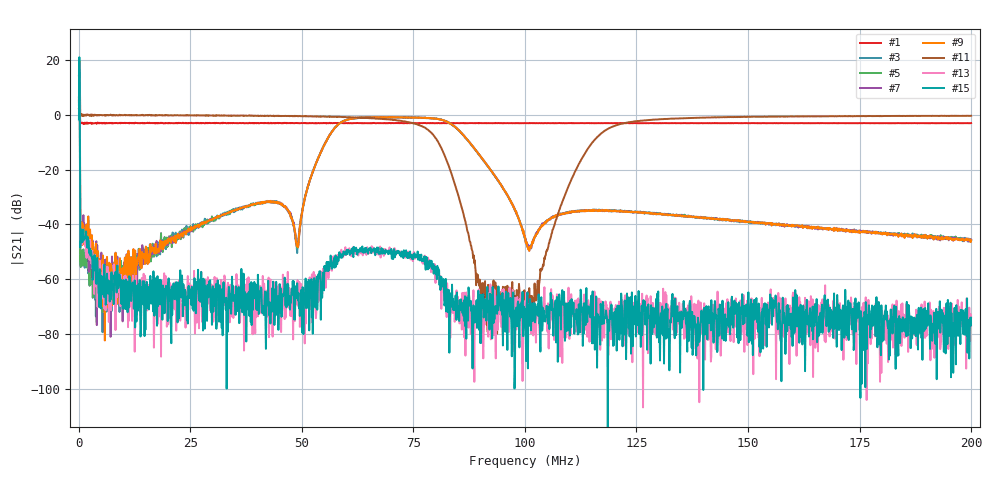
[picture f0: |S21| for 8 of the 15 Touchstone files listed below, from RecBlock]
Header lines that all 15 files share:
! CHANNEL.1
! TR.MEASUREMENT
! CORRECTED.DATA
# GHZ S RI R 50.0
! FREQ.GHZ  S11RE  S11IM  S21RE  S21IM  S12RE  S12IM  S22RE  S22IM
!; PortSelection: Port_12
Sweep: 50 kHz to 200 MHz
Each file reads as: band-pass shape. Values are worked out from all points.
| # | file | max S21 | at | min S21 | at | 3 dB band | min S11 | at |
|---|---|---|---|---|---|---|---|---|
| 1 | 3dBatt0.s2p | 16.21 dB | 150 kHz | -3.3 dB | 1.05 MHz | 50 kHz-150 kHz | -68.6 dB | 4.151 MHz |
| 2 | BandpassFil0.s2p | 4.07 dB | 50 kHz | -78.1 dB | 4.751 MHz | 50 kHz-50 kHz | -35.2 dB | 66.47 MHz |
| 3 | BandpassFil1.s2p | 15.92 dB | 150 kHz | -79.4 dB | 5.351 MHz | 150 kHz-150 kHz | -35.5 dB | 66.67 MHz |
| 4 | BandpassFil2.s2p | 11.39 dB | 150 kHz | -78.6 dB | 7.852 MHz | 150 kHz-150 kHz | -35.1 dB | 66.57 MHz |
| 5 | BandpassFil3.s2p | 6.34 dB | 50 kHz | -75.9 dB | 4.051 MHz | 50 kHz-150 kHz | -35.0 dB | 66.57 MHz |
| 6 | BandpassFilRev0.s2p | 6.93 dB | 150 kHz | -73.5 dB | 8.152 MHz | 150 kHz-150 kHz | -33.8 dB | 66.37 MHz |
| 7 | BandpassFilRev1.s2p | 13.52 dB | 250 kHz | -81.1 dB | 7.152 MHz | 250 kHz-250 kHz | -33.5 dB | 66.17 MHz |
| 8 | BandpassFilRev2.s2p | 9.18 dB | 250 kHz | -77.8 dB | 4.751 MHz | 250 kHz-250 kHz | -33.9 dB | 66.27 MHz |
| 9 | BandpassFilRev3.s2p | 19.69 dB | 150 kHz | -82.4 dB | 5.851 MHz | 150 kHz-150 kHz | -33.6 dB | 66.37 MHz |
| 10 | FMNotch0.s2p | 27.49 dB | 150 kHz | -84.5 dB | 92.67 MHz | 150 kHz-150 kHz | -57.7 dB | 1.05 MHz |
| 11 | FMNotch3Rev.s2p | 14.05 dB | 250 kHz | -79.9 dB | 93.77 MHz | 250 kHz-250 kHz | -49.4 dB | 1.05 MHz |
| 12 | RecBlockRev0.s2p | 23.01 dB | 250 kHz | -108.8 dB | 173 MHz | 250 kHz-250 kHz | -39.9 dB | 850.2 kHz |
| 13 | RecBlockRev1.s2p | 13.46 dB | 150 kHz | -106.9 dB | 126.5 MHz | 150 kHz-250 kHz | -43.9 dB | 950.2 kHz |
| 14 | RecBlockRev2.s2p | 12.02 dB | 150 kHz | -98.3 dB | 159.4 MHz | 50 kHz-150 kHz | -42.2 dB | 950.2 kHz |
| 15 | RecBlockRev3.s2p | 21.07 dB | 150 kHz | -123.0 dB | 118.6 MHz | 150 kHz-150 kHz | -42.4 dB | 850.2 kHz |
